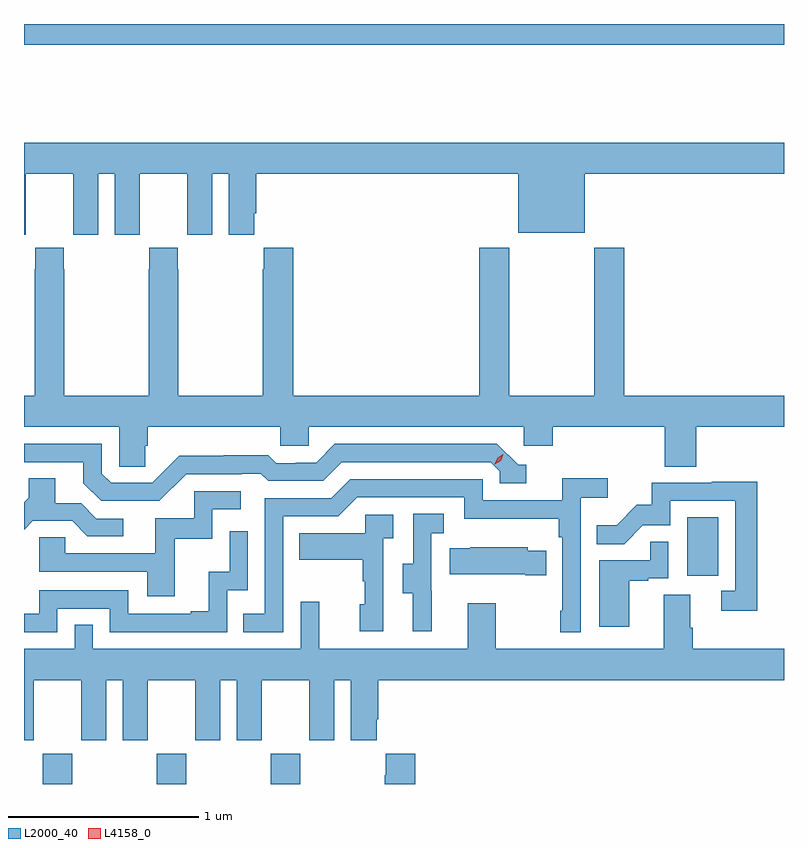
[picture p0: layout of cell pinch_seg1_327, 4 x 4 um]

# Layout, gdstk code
import gdstk
lib = gdstk.Library(unit=1e-6, precision=1e-09)
def R(c, l, rs):  # rectangles x0, y0, x1, y1
    for r in rs: c.add(gdstk.rectangle(r[:2], r[2:], *l))
def A(c, l, x, y, w, h, nx, ny, dx, dy):  # array of equal rectangles
    R(c, l, [(x+i*dx, y+j*dy, x+i*dx+w, y+j*dy+h) for i in range(nx) for j in range(ny)])
def P(c, l, *ps):  # polygons
    for p in ps: c.add(gdstk.Polygon(p, *l))
L2000_40 = (2000, 40)
L4158_0 = (4158, 0)

pinch_seg1_327 = lib.new_cell('pinch_seg1_327')
A(pinch_seg1_327, L2000_40, 976.045, 549.853, 0.155, 0.159, 3, 1, 0.6, 0)
R(pinch_seg1_327, L2000_40, [(979.436,550.95,979.6,551.257), (975.946,553.744,979.946,553.853)])
P(pinch_seg1_327, L2000_40, [(975.954,552.856),(975.955,552.856),(975.955,553.064),(976.205,553.064),(976.205,552.856),(976.206,552.856),(976.206,552.744),(976.336,552.744),(976.336,553.064),(976.424,553.064),(976.424,552.744),(976.554,552.744),(976.554,552.856),(976.555,552.856),(976.555,553.064),(976.805,553.064),(976.805,552.856),(976.806,552.856),(976.806,552.744),(976.936,552.744),(976.936,553.064),(977.024,553.064),(977.024,552.744),(977.158,552.744),(977.158,552.856),(977.168,552.856),(977.168,553.064),(978.548,553.064),(978.548,552.755),(978.898,552.755),(978.898,553.064),(979.946,553.064),(979.946,553.228),(975.946,553.228),(975.946,552.744),(975.954,552.744)],
  [(976.583,551.634),(976.598,551.634),(976.598,551.732),(977.295,551.732),(977.295,551.634),(977.445,551.634),(977.445,551.732),(978.576,551.732),(978.576,551.634),(978.728,551.634),(978.728,551.732),(979.319,551.732),(979.319,551.524),(979.484,551.524),(979.484,551.732),(979.946,551.732),(979.946,551.896),(979.106,551.896),(979.106,552.676),(978.946,552.676),(978.946,551.896),(978.501,551.896),(978.501,552.676),(978.341,552.676),(978.341,551.896),(977.363,551.896),(977.363,552.676),(977.209,552.676),(977.209,552.563),(977.203,552.563),(977.203,551.896),(976.758,551.896),(976.758,552.563),(976.755,552.563),(976.755,552.676),(976.605,552.676),(976.605,552.563),(976.603,552.563),(976.603,551.896),(976.158,551.896),(976.158,552.563),(976.155,552.563),(976.155,552.676),(976.005,552.676),(976.005,552.563),(976.003,552.563),(976.003,551.896),(975.946,551.896),(975.946,551.732),(976.446,551.732),(976.446,551.524),(976.583,551.524)],
  [(976.8,551.484),(977.093,551.484),(977.093,551.487),(977.192,551.487),(977.231,551.448),(977.52,551.448),(977.619,551.547),(978.402,551.547),(978.45,551.499),(978.45,551.436),(978.589,551.436),(978.589,551.532),(978.546,551.532),(978.435,551.643),(977.582,551.643),(977.483,551.544),(977.376,551.544),(977.376,551.541),(977.273,551.541),(977.231,551.584),(976.998,551.584),(976.998,551.581),(976.762,551.581),(976.62,551.439),(976.404,551.439),(976.356,551.487),(976.356,551.643),(975.946,551.643),(975.946,551.547),(976.259,551.547),(976.259,551.437),(976.353,551.343),(976.659,551.343)],
  [(976.468,551.25),(976.326,551.25),(976.246,551.33),(976.111,551.33),(976.111,551.462),(975.971,551.462),(975.971,551.36),(975.946,551.335),(975.946,551.191),(975.993,551.238),(976.199,551.238),(976.28,551.157),(976.468,551.157)],
  [(977.31,551.262),(977.601,551.262),(977.7,551.361),(978.264,551.361),(978.264,551.249),(978.76,551.249),(978.76,551.153),(978.78,551.153),(978.78,550.765),(978.768,550.765),(978.768,550.653),(978.876,550.653),(978.876,551.36),(979.018,551.36),(979.018,551.462),(978.779,551.462),(978.779,551.346),(978.36,551.346),(978.36,551.457),(977.663,551.457),(977.564,551.358),(977.214,551.358),(977.214,550.749),(977.101,550.749),(977.101,550.653),(977.31,550.653)],
  [(979.805,551.444),(979.567,551.444),(979.567,551.439),(979.249,551.439),(979.249,551.322),(979.172,551.322),(979.065,551.215),(978.961,551.215),(978.961,551.116),(979.105,551.116),(979.203,551.214),(979.347,551.214),(979.347,551.343),(979.689,551.343),(979.689,550.869),(979.617,550.869),(979.617,550.764),(979.805,550.764)],
  [(976.739,551.145),(976.938,551.145),(976.938,551.298),(977.086,551.298),(977.086,551.394),(976.842,551.394),(976.842,551.253),(976.637,551.253),(976.637,551.067),(976.163,551.067),(976.163,551.151),(976.026,551.151),(976.026,550.971),(976.595,550.971),(976.595,550.842),(976.739,550.842)],
  [(978.092,550.869),(978.09,550.869),(978.09,551.173),(978.154,551.173),(978.154,551.276),(977.994,551.276),(977.994,551.013),(977.939,551.013),(977.939,550.858),(977.993,550.858),(977.993,550.656),(978.092,550.656)],
  [(977.838,551.147),(977.89,551.147),(977.89,551.271),(977.742,551.271),(977.742,551.173),(977.395,551.173),(977.395,551.033),(977.73,551.033),(977.73,550.919),(977.74,550.919),(977.74,550.8),(977.714,550.8),(977.714,550.656),(977.838,550.656)],
  [(976.122,550.776),(976.398,550.776),(976.398,550.653),(977.016,550.653),(977.016,550.872),(977.124,550.872),(977.124,551.182),(977.028,551.182),(977.028,550.97),(976.919,550.97),(976.919,550.762),(976.823,550.762),(976.823,550.749),(976.494,550.749),(976.494,550.872),(976.026,550.872),(976.026,550.749),(975.946,550.749),(975.946,550.653),(976.122,550.653)],
  [(979.132,550.923),(979.232,550.923),(979.232,550.935),(979.338,550.935),(979.338,551.129),(979.243,551.129),(979.243,551.031),(978.974,551.031),(978.974,550.68),(979.132,550.68)],
  [(978.695,551.08),(978.597,551.08),(978.597,551.098),(978.295,551.098),(978.295,551.095),(978.187,551.095),(978.187,550.958),(978.584,550.958),(978.584,550.951),(978.695,550.951)],
  [(979.946,550.564),(979.466,550.564),(979.466,550.676),(979.453,550.676),(979.453,550.85),(979.313,550.85),(979.313,550.564),(978.429,550.564),(978.429,550.804),(978.281,550.804),(978.281,550.564),(977.501,550.564),(977.501,550.813),(977.403,550.813),(977.403,550.564),(976.308,550.564),(976.308,550.691),(976.212,550.691),(976.212,550.564),(975.946,550.564),(975.946,550.083),(975.997,550.083),(975.997,550.4),(976.247,550.4),(976.247,550.083),(976.378,550.083),(976.378,550.4),(976.466,550.4),(976.466,550.083),(976.597,550.083),(976.597,550.4),(976.847,550.4),(976.847,550.083),(976.978,550.083),(976.978,550.4),(977.066,550.4),(977.066,550.083),(977.197,550.083),(977.197,550.4),(977.447,550.4),(977.447,550.083),(977.578,550.083),(977.578,550.4),(977.666,550.4),(977.666,550.083),(977.803,550.083),(977.803,550.195),(977.81,550.195),(977.81,550.4),(979.946,550.4)],
  [(978.005,550.012),(977.849,550.012),(977.849,549.899),(977.845,549.899),(977.845,549.853),(978.005,549.853)])
P(pinch_seg1_327, L4158_0, [(978.423,551.536),(978.423,551.536),(978.439,551.569),(978.469,551.588),(978.469,551.588),(978.469,551.588),(978.454,551.555),(978.423,551.536)])

lib.write_gds('pinch_seg1_327.gds')
